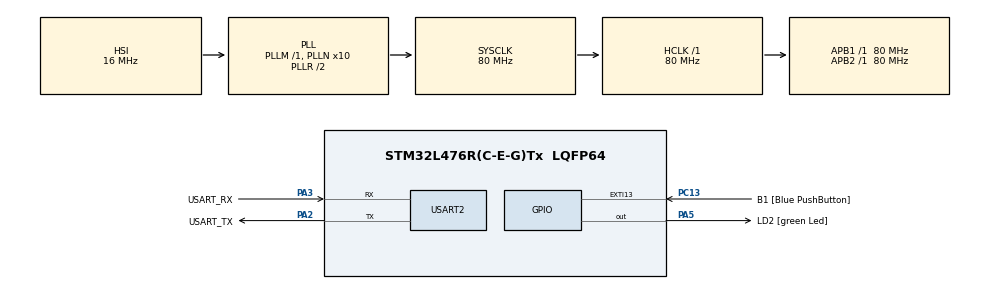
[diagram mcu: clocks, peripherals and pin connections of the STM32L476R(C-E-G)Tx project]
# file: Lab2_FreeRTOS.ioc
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FREERTOS.Tasks01=defaultTask,24,128,StartDefaultTask,Default,NULL,Dynamic,NULL,NULL;BlinkLED_Task,8,128,StartTask02,Default,NULL,Dynamic,NULL,NULL;PrintUART_Task,8,128,StartTask03,Default,NULL,Dynamic,NULL,NULL
FREERTOS.configTICK_RATE_HZ=1000
FREERTOS.configUSE_NEWLIB_REENTRANT=1
FREERTOS.configUSE_PREEMPTION=0
Mcu.Family=STM32L4
Mcu.Name=STM32L476R(C-E-G)Tx
Mcu.Package=LQFP64
NVIC.PriorityGroup=NVIC_PRIORITYGROUP_4
PA13\ (JTMS-SWDIO).GPIO_Label=TMS
PA13\ (JTMS-SWDIO).Mode=Serial_Wire
PA13\ (JTMS-SWDIO).Signal=SYS_JTMS-SWDIO
PA14\ (JTCK-SWCLK).GPIO_Label=TCK
PA14\ (JTCK-SWCLK).Mode=Serial_Wire
PA14\ (JTCK-SWCLK).Signal=SYS_JTCK-SWCLK
PA2.GPIO_Label=USART_TX
PA2.GPIO_Mode=GPIO_MODE_AF_PP
PA2.GPIO_PuPd=GPIO_NOPULL
PA2.GPIO_Speed=GPIO_SPEED_FREQ_VERY_HIGH
PA2.Mode=Asynchronous
PA2.Signal=USART2_TX
PA3.GPIO_Label=USART_RX
PA3.GPIO_Mode=GPIO_MODE_AF_PP
PA3.GPIO_PuPd=GPIO_NOPULL
PA3.GPIO_Speed=GPIO_SPEED_FREQ_VERY_HIGH
PA3.Mode=Asynchronous
PA3.Signal=USART2_RX
PA5.GPIO_Label=LD2 [green Led]
PA5.GPIO_ModeDefaultOutputPP=GPIO_MODE_OUTPUT_PP
PA5.GPIO_PuPd=GPIO_NOPULL
PA5.GPIO_Speed=GPIO_SPEED_FREQ_LOW
PA5.Signal=GPIO_Output
PB3\ (JTDO-TRACESWO).GPIO_Label=SWO
PB3\ (JTDO-TRACESWO).Signal=SYS_JTDO-SWO
PC13.GPIO_Label=B1 [Blue PushButton]
PC13.GPIO_ModeDefaultEXTI=GPIO_MODE_IT_FALLING
PC13.GPIO_PuPd=GPIO_NOPULL
PC13.Signal=GPXTI13
PC14-OSC32_IN\ (PC14).Mode=LSE-External-Oscillator
PC14-OSC32_IN\ (PC14).Signal=RCC_OSC32_IN
PC15-OSC32_OUT\ (PC15).Mode=LSE-External-Oscillator
PC15-OSC32_OUT\ (PC15).Signal=RCC_OSC32_OUT
PH0-OSC_IN\ (PH0).Signal=RCC_OSC_IN
PH1-OSC_OUT\ (PH1).Signal=RCC_OSC_OUT
ProjectManager.HeapSize=0x200
ProjectManager.StackSize=0x400
ProjectManager.TargetToolchain=STM32CubeIDE
RCC.ADCFreq_Value=64000000
RCC.AHBFreq_Value=80000000
RCC.APB1Freq_Value=80000000
RCC.APB1TimFreq_Value=80000000
RCC.APB2Freq_Value=80000000
RCC.APB2TimFreq_Value=80000000
RCC.CortexFreq_Value=80000000
RCC.HCLKFreq_Value=80000000
RCC.HSE_VALUE=8000000
RCC.HSI_VALUE=16000000
RCC.MSI_VALUE=4000000
RCC.PLLN=10
RCC.PLLSourceVirtual=RCC_PLLSOURCE_HSI
RCC.PREFETCH_ENABLE=1
RCC.SYSCLKFreq_VALUE=80000000
RCC.SYSCLKSource=RCC_SYSCLKSOURCE_PLLCLK
RCC.USBFreq_Value=64000000
RCC.VCOOutputFreq_Value=160000000
USART2.VirtualMode-Asynchronous=VM_ASYNC
VP_FREERTOS_VS_CMSIS_V2.Mode=CMSIS_V2
board=NUCLEO-L476RG

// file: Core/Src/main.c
/* USER CODE BEGIN Header */
/**
  ******************************************************************************
  * @file           : main.c
  * @brief          : Main program body
  ******************************************************************************
  * @attention
  *
  * Copyright (c) 2026 STMicroelectronics.
  * All rights reserved.
  *
  * This software is licensed under terms that can be found in the LICENSE file
  * in the root directory of this software component.
  * If no LICENSE file comes with this software, it is provided AS-IS.
  *
  ******************************************************************************
  */
/* USER CODE END Header */
#include "main.h"
#include "cmsis_os.h"

/* USER CODE BEGIN PTD */
#define USE_HAL_DELAY 1
/* USER CODE END PTD */

UART_HandleTypeDef huart2;

/* Definitions for defaultTask */
osThreadId_t defaultTaskHandle;
const osThreadAttr_t defaultTask_attributes = {
  .name = "defaultTask",
  .stack_size = 128 * 4,
  .priority = (osPriority_t) osPriorityNormal,
};
/* Definitions for BlinkLED_Task */
osThreadId_t BlinkLED_TaskHandle;
const osThreadAttr_t BlinkLED_Task_attributes = {
  .name = "BlinkLED_Task",
  .stack_size = 128 * 4,
  .priority = (osPriority_t) osPriorityLow,
};
/* Definitions for PrintUART_Task */
osThreadId_t PrintUART_TaskHandle;
const osThreadAttr_t PrintUART_Task_attributes = {
  .name = "PrintUART_Task",
  .stack_size = 128 * 4,
  .priority = (osPriority_t) osPriorityLow,
};

void SystemClock_Config(void);
static void MX_GPIO_Init(void);
static void MX_USART2_UART_Init(void);
void StartDefaultTask(void *argument);
void StartTask02(void *argument);
void StartTask03(void *argument);

/* USER CODE BEGIN 0 */
const char uartMsg[] = "Jeffrey\r\n";
/* USER CODE END 0 */

int main(void)
{

  /* MCU Configuration--------------------------------------------------------*/

  /* Reset of all peripherals, Initializes the Flash interface and the Systick. */
  HAL_Init();

  /* Configure the system clock */
  SystemClock_Config();

  /* Initialize all configured peripherals */
  MX_GPIO_Init();
  MX_USART2_UART_Init();

  /* Init scheduler */
  osKernelInitialize();

  /* Create the thread(s) */
  /* creation of defaultTask */
  defaultTaskHandle = osThreadNew(StartDefaultTask, NULL, &defaultTask_attributes);

  /* creation of BlinkLED_Task */
  BlinkLED_TaskHandle = osThreadNew(StartTask02, NULL, &BlinkLED_Task_attributes);

  /* creation of PrintUART_Task */
  PrintUART_TaskHandle = osThreadNew(StartTask03, NULL, &PrintUART_Task_attributes);

  /* Start scheduler */
  osKernelStart();

  /* We should never get here as control is now taken by the scheduler */

  /* Infinite loop */
  while (1)
  {

  }
}

void SystemClock_Config(void)
{
  RCC_OscInitTypeDef RCC_OscInitStruct = {0};
  RCC_ClkInitTypeDef RCC_ClkInitStruct = {0};

  /** Configure the main internal regulator output voltage
  */
  if (HAL_PWREx_ControlVoltageScaling(PWR_REGULATOR_VOLTAGE_SCALE1) != HAL_OK)
  {
    Error_Handler();
  }

  /** Initializes the RCC Oscillators according to the specified parameters
  * in the RCC_OscInitTypeDef structure.
  */
  RCC_OscInitStruct.OscillatorType = RCC_OSCILLATORTYPE_HSI;
  RCC_OscInitStruct.HSIState = RCC_HSI_ON;
  RCC_OscInitStruct.HSICalibrationValue = RCC_HSICALIBRATION_DEFAULT;
  RCC_OscInitStruct.PLL.PLLState = RCC_PLL_ON;
  RCC_OscInitStruct.PLL.PLLSource = RCC_PLLSOURCE_HSI;
  RCC_OscInitStruct.PLL.PLLM = 1;
  RCC_OscInitStruct.PLL.PLLN = 10;
  RCC_OscInitStruct.PLL.PLLP = RCC_PLLP_DIV7;
  RCC_OscInitStruct.PLL.PLLQ = RCC_PLLQ_DIV2;
  RCC_OscInitStruct.PLL.PLLR = RCC_PLLR_DIV2;
  if (HAL_RCC_OscConfig(&RCC_OscInitStruct) != HAL_OK)
  {
    Error_Handler();
  }

  /** Initializes the CPU, AHB and APB buses clocks
  */
  RCC_ClkInitStruct.ClockType = RCC_CLOCKTYPE_HCLK|RCC_CLOCKTYPE_SYSCLK
                              |RCC_CLOCKTYPE_PCLK1|RCC_CLOCKTYPE_PCLK2;
  RCC_ClkInitStruct.SYSCLKSource = RCC_SYSCLKSOURCE_PLLCLK;
  RCC_ClkInitStruct.AHBCLKDivider = RCC_SYSCLK_DIV1;
  RCC_ClkInitStruct.APB1CLKDivider = RCC_HCLK_DIV1;
  RCC_ClkInitStruct.APB2CLKDivider = RCC_HCLK_DIV1;

  if (HAL_RCC_ClockConfig(&RCC_ClkInitStruct, FLASH_LATENCY_4) != HAL_OK)
  {
    Error_Handler();
  }
}

static void MX_USART2_UART_Init(void)
{

  huart2.Instance = USART2;
  huart2.Init.BaudRate = 115200;
  huart2.Init.WordLength = UART_WORDLENGTH_8B;
  huart2.Init.StopBits = UART_STOPBITS_1;
  huart2.Init.Parity = UART_PARITY_NONE;
  huart2.Init.Mode = UART_MODE_TX_RX;
  huart2.Init.HwFlowCtl = UART_HWCONTROL_NONE;
  huart2.Init.OverSampling = UART_OVERSAMPLING_16;
  huart2.Init.OneBitSampling = UART_ONE_BIT_SAMPLE_DISABLE;
  huart2.AdvancedInit.AdvFeatureInit = UART_ADVFEATURE_NO_INIT;
  if (HAL_UART_Init(&huart2) != HAL_OK)
  {
    Error_Handler();
  }

}

static void MX_GPIO_Init(void)
{
  GPIO_InitTypeDef GPIO_InitStruct = {0};

  /* GPIO Ports Clock Enable */
  __HAL_RCC_GPIOC_CLK_ENABLE();
  __HAL_RCC_GPIOH_CLK_ENABLE();
  __HAL_RCC_GPIOA_CLK_ENABLE();
  __HAL_RCC_GPIOB_CLK_ENABLE();

  /*Configure GPIO pin Output Level */
  HAL_GPIO_WritePin(LD2_GPIO_Port, LD2_Pin, GPIO_PIN_RESET);

  /*Configure GPIO pin : B1_Pin */
  GPIO_InitStruct.Pin = B1_Pin;
  GPIO_InitStruct.Mode = GPIO_MODE_IT_FALLING;
  GPIO_InitStruct.Pull = GPIO_NOPULL;
  HAL_GPIO_Init(B1_GPIO_Port, &GPIO_InitStruct);

  /*Configure GPIO pin : LD2_Pin */
  GPIO_InitStruct.Pin = LD2_Pin;
  GPIO_InitStruct.Mode = GPIO_MODE_OUTPUT_PP;
  GPIO_InitStruct.Pull = GPIO_NOPULL;
  GPIO_InitStruct.Speed = GPIO_SPEED_FREQ_LOW;
  HAL_GPIO_Init(LD2_GPIO_Port, &GPIO_InitStruct);

}

void StartDefaultTask(void *argument)
{
  /* USER CODE BEGIN 5 */
  /* Infinite loop */
	osThreadExit();
  /* USER CODE END 5 */
}

void StartTask02(void *argument)
{
  /* USER CODE BEGIN StartTask02 */
	// BLINK LED TASK

	//RTOS time measured in TICKS -- xTaskGetTickCount() measures how many ticks have passed since the scheduler started
	TickType_t lastWake = xTaskGetTickCount();

  /* Infinite loop */
  for(;;)
  {
	  // Basically saying - its been "lastWake" time since we got here, wait 500ms then toggle
	  // Keeps blink on schedule, tells toggle to happen at 500ms synced to system and not to task
	  // otherwise blink would have incremently increasing delay
	  vTaskDelayUntil(&lastWake, pdMS_TO_TICKS(500));
	  HAL_GPIO_TogglePin(LD2_GPIO_Port, LD2_Pin);
  }
  /* USER CODE END StartTask02 */
}

void StartTask03(void *argument)
{
  /* USER CODE BEGIN StartTask03 */
	// UART PRINT TASK
	GPIO_PinState lastState = GPIO_PIN_SET; //assumes the last state of the button is not pressed
  /* Infinite loop */
	for(;;)
	{
		GPIO_PinState currentState = HAL_GPIO_ReadPin(B1_GPIO_Port, B1_Pin); //reads the current state of the B1 pin
		if(lastState == GPIO_PIN_SET && currentState == GPIO_PIN_RESET){
			HAL_UART_Transmit(&huart2, (uint8_t*)uartMsg, sizeof(uartMsg) - 1, HAL_MAX_DELAY);
		}

		lastState = currentState; //pass along state
		if(USE_HAL_DELAY){
			HAL_Delay(10);
		}
		else{
			osDelay(10);
		}
	}
  /* USER CODE END StartTask03 */
}

void Error_Handler(void)
{
  __disable_irq();
  while (1)
  {
  }
}
